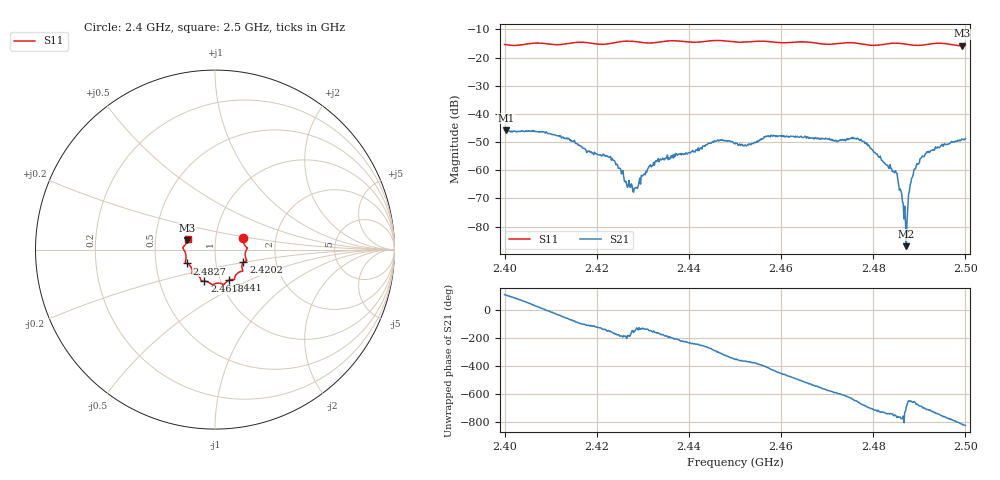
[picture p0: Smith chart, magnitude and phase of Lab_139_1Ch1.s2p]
# Hz S RI R
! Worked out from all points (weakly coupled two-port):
!   601 points, 2.4 GHz to 2.5 GHz, reference 50 ohm
!   highest |S21| = -45.73 dB at 2.4003 GHz (marker M1); lowest = -87.0 dB at 2.4872 GHz (marker M2)
!   lowest |S11| = -15.8 dB at 2.4993 GHz (marker M3), VSWR 1.39, Z = 36.5 + j3.83 ohm
!   |S11| at or under -10 dB: start of sweep to end of sweep
!   S12 and S22 are empty: the file has one direction only
!   S11 on the Smith chart (normalised r, x): 2.4 GHz: 1.36, +0.18; 2.4202 GHz: 1.36, -0.20; 2.441 GHz: 1.10, -0.39; 2.4618 GHz: 0.84, -0.30; 2.4827 GHz: 0.72, -0.12; 2.5 GHz: 0.73, +0.09
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2.4e9  0.1585 0.0631  -0.00206 0.00473  0 0  0 0
2.400333e9  0.1581 0.0596  -0.00172 0.00488  0 0  0 0
2.408667e9  0.1781 0.00314  0.00468 0.000629  0 0  0 0
2.416667e9  0.1771 -0.0609  -0.00031 -0.00263  0 0  0 0
2.420167e9  0.1587 -0.0711  -0.000983 -0.00162  0 0  0 0
2.4235e9  0.1504 -0.1023  -0.00144 -0.000467  0 0  0 0
2.428333e9  0.1507 -0.1204  -0.000397 -0.000274  0 0  0 0
2.433333e9  0.1114 -0.1507  -0.00152 -0.000523  0 0  0 0
2.441e9  0.0788 -0.1699  -0.00103 0.00186  0 0  0 0
2.45e9  0.0285 -0.1875  0.00287 0.000568  0 0  0 0
2.461833e9  -0.0591 -0.1753  -0.00157 -0.0036  0 0  0 0
2.466667e9  -0.0787 -0.1684  -0.00371 -0.000411  0 0  0 0
2.477e9  -0.1268 -0.1241  0.00188 0.00283  0 0  0 0
2.482667e9  -0.1557 -0.0773  0.00124 -0.000332  0 0  0 0
2.483333e9  -0.1601 -0.0754  0.00104 -0.000331  0 0  0 0
2.485e9  -0.1656 -0.0714  0.000715 -0.000548  0 0  0 0
2.486833e9  -0.1637 -0.0612  0.000227 -3.76e-05  0 0  0 0
2.487167e9  -0.163 -0.0585  3.99e-05 2.03e-05  0 0  0 0
2.4885e9  -0.1611 -0.0434  0.000358 0.000663  0 0  0 0
2.490333e9  -0.1647 -0.0196  0.00136 0.000885  0 0  0 0
2.499333e9  -0.154 0.0511  -0.00051 -0.00349  0 0  0 0
2.5e9  -0.1523 0.0605  -0.000898 -0.00352  0 0  0 0
